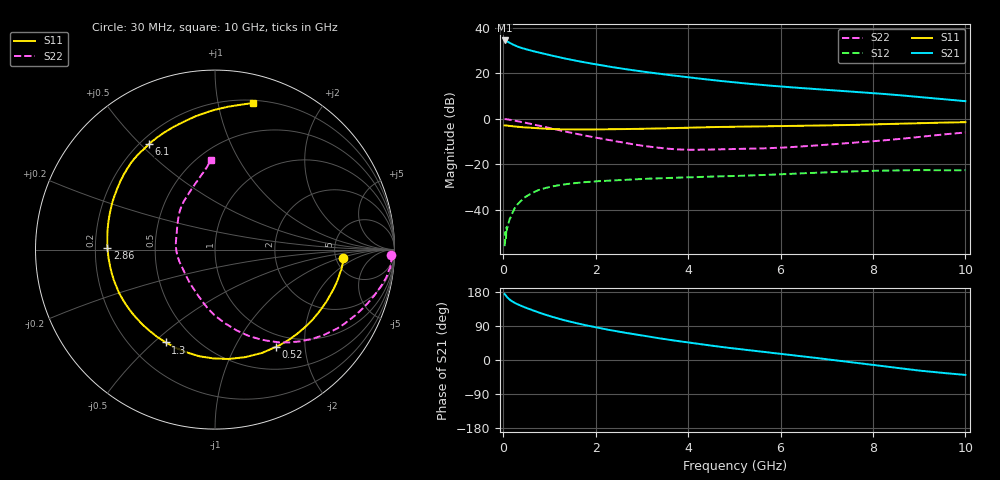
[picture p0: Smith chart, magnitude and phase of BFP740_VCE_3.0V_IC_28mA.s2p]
! Infineon Technologies  Discrete & RF Semiconductors
! BFP740
! VCE =  3.0 V,  IC =  28 mA
! Common Emitter S-Parameters:  Jan 2016
# GHz  S  MA  R  50
!  f  S11  S21  S12  S22
! GHz  MAG  ANG  MAG  ANG  MAG  ANG  MAG  ANG
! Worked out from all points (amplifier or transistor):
!   229 points, 30 MHz to 10 GHz, reference 50 ohm
!   highest |S21| = 34.4 dB at 30 MHz (marker M1)
!   |S21| within 3 dB of that: start of sweep to 353.8 MHz
!   unconditionally stable (mu >= 1): 5.982 GHz to 9.958 GHz
!   at 280 MHz: K = 0.28, MSG = 35.1 dB, |S12| = -38.3 dB
!   at 1.78 GHz: K = 0.50, MSG = 26.2 dB, |S12| = -27.8 dB
!   at 10 GHz: K = 1.00, MSG = 15.2 dB, |S12| = -22.6 dB
!   S11 on the Smith chart (normalised r, x): 30 MHz: 5.81, -1.13; 520 MHz: 0.81, -1.49; 1.3 GHz: 0.35, -0.55; 2.86 GHz: 0.25, +0.01; 6.1 GHz: 0.23, +0.53; 10 GHz: 0.22, +1.26
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0.03  0.7156 -3.8  52.27 174.2  0.0016 98.8  0.9819 -1.8
0.06  0.7134 -7.9  51.28 169.3  0.0024 97.6  0.9815 -4.8
0.11  0.703 -14.4  48.34 162.5  0.0048 81.4  0.9667 -9.3
0.15  0.6943 -19.2  45.86 158.2  0.0065 81.2  0.9476 -12.4
0.195  0.6861 -24.3  43.3 154.4  0.0083 80.2  0.9273 -15.5
0.32  0.6656 -37.9  38.07 146.5  0.0136 72.2  0.8776 -22.9
0.4  0.655 -46.1  35.75 142.2  0.0163 69.0  0.8466 -27.4
0.52  0.6394 -57.9  32.95 136.5  0.0204 63.9  0.8026 -33.8
0.7  0.6223 -74.4  29.57 128.3  0.0256 56.7  0.7357 -42.6
0.9  0.6064 -90.8  26.45 119.9  0.03 50.3  0.6617 -51.4
1.1  0.5941 -105.3  23.72 112.4  0.0335 44.9  0.5937 -59.2
1.3  0.5854 -117.9  21.38 105.6  0.036 40.7  0.5353 -66.2
1.7  0.5809 -138.8  17.75 94.0  0.0401 34.1  0.4415 -78.1
2.2  0.5869 -159.4  14.44 81.4  0.0434 28.6  0.3544 -92.4
2.86  0.5991 179.3  11.43 67.3  0.0468 23.2  0.2707 -110.8
3.4  0.6145 164.9  9.65 56.9  0.0494 19.9  0.2295 -129.0
4.2  0.6435 147.4  7.698 42.8  0.0526 15.9  0.2091 -158.5
5.1  0.6737 133.2  6.155 28.9  0.056 12.3  0.2183 176.2
6.1  0.6938 122.1  5.016 15.0  0.061 9.0  0.2346 155.2
6.8  0.7099 114.0  4.453 5.0  0.0653 5.2  0.2603 142.6
8.4  0.7701 92.4  3.398 -19.1  0.0734 -6.2  0.3466 114.8
10  0.8429 75.6  2.432 -39.3  0.074 -16.2  0.4996 92.6
